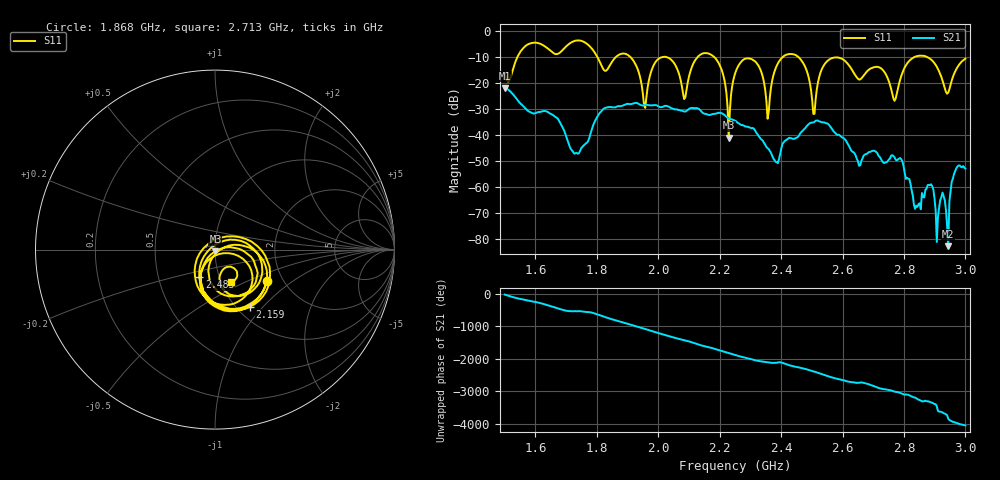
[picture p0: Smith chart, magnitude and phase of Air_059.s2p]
# HZ S RI R 50
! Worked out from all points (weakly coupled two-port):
!   404 points, 1.5 GHz to 3 GHz, reference 50 ohm
!   highest |S21| = -21.94 dB at 1.5 GHz (marker M1); lowest = -82.9 dB at 2.944 GHz (marker M2)
!   lowest |S11| = -41.1 dB at 2.23 GHz (marker M3), VSWR 1.02, Z = 50.2 - j0.856 ohm
!   |S11| at or under -10 dB: 2.182 GHz to 2.406 GHz (223.5 MHz wide, 9.74 % of centre); 2.456 GHz to 2.835 GHz (378.5 MHz wide, 14.3 % of centre); 2.875 GHz to end of sweep (the widest 3 of 7)
!   S12 and S22 are empty: the file has one direction only
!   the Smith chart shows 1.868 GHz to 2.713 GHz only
!   S11 on the Smith chart (normalised r, x): 1.868 GHz: 1.65, -0.66; 2.159 GHz: 1.15, -0.85; 2.483 GHz: 0.80, -0.26; 2.713 GHz: 1.11, -0.43
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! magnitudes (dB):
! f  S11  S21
! 1.5 GHz  -16.4  -21.9
! 1.578 GHz  -5.0  -30.9
! 1.753 GHz  -3.9  -44.6
! 1.868 GHz  -9.4  -29.0
! 1.958 GHz  -29.6  -28.4
! 2.002 GHz  -10.6  -29.1
! 2.084 GHz  -26.2  -31.0
! 2.159 GHz  -8.5  -32.1
! 2.23 GHz  -41.1  -33.7
! 2.252 GHz  -15.8  -34.7
! 2.315 GHz  -11.7  -38.2
! 2.356 GHz  -33.8  -45.1
! 2.386 GHz  -13.4  -50.5
! 2.483 GHz  -15.0  -36.8
! 2.501 GHz  -26.6  -35.2
! 2.561 GHz  -10.7  -36.9
! 2.713 GHz  -13.8  -47.0
! 2.751 GHz  -19.3  -49.5
! 2.862 GHz  -9.5  -63.8
! 2.944 GHz  -23.7  -82.9
! 2.967 GHz  -15.6  -54.0
! 3 GHz  -10.7  -53.0
